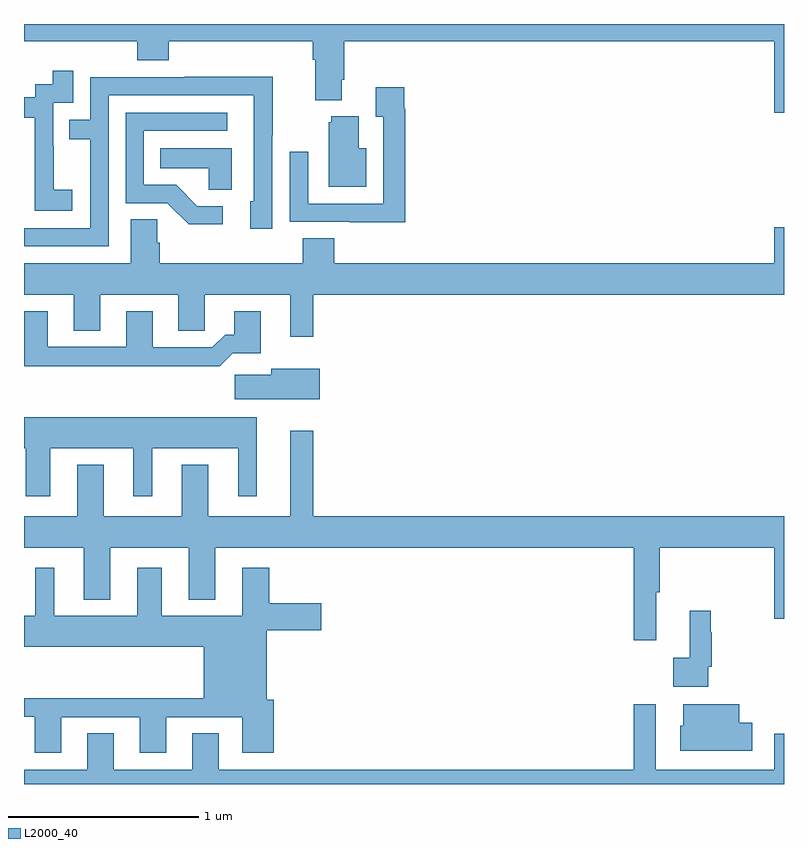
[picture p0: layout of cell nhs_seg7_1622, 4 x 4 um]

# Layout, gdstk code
import gdstk
lib = gdstk.Library(unit=1e-6, precision=1e-09)
def P(c, l, *ps):  # polygons
    for p in ps: c.add(gdstk.Polygon(p, *l))
L2000_40 = (2000, 40)

nhs_seg7_1622 = lib.new_cell('nhs_seg7_1622')
P(nhs_seg7_1622, L2000_40, [(225,1042),(221,1042),(221,1041.908),(221.597,1041.908),(221.597,1041.809),(221.762,1041.809),(221.762,1041.908),(222.521,1041.908),(222.521,1041.812),(222.533,1041.812),(222.533,1041.599),(222.673,1041.599),(222.673,1041.706),(222.686,1041.706),(222.686,1041.908),(224.948,1041.908),(224.948,1041.534),(225,1041.534)],
  [(221.254,1041.127),(221.156,1041.127),(221.156,1041.356),(221.154,1041.356),(221.154,1041.585),(221.259,1041.585),(221.259,1041.754),(221.151,1041.754),(221.151,1041.684),(221.058,1041.684),(221.058,1041.615),(221,1041.615),(221,1041.507),(221.057,1041.507),(221.057,1041.223),(221.056,1041.223),(221.056,1041.017),(221.254,1041.017)],
  [(221.445,1041.624),(222.21,1041.624),(222.21,1041.066),(222.191,1041.066),(222.191,1040.922),(222.306,1040.922),(222.306,1041.415),(222.309,1041.415),(222.309,1041.722),(221.845,1041.722),(221.845,1041.72),(221.349,1041.72),(221.349,1041.495),(221.239,1041.495),(221.239,1041.394),(221.349,1041.394),(221.349,1040.925),(221,1040.925),(221,1040.829),(221.445,1040.829)],
  [(223.007,1041.554),(223,1041.554),(223,1041.667),(222.851,1041.667),(222.851,1041.511),(222.891,1041.511),(222.891,1041.054),(222.495,1041.054),(222.495,1041.328),(222.399,1041.328),(222.399,1040.958),(222.715,1040.958),(222.715,1040.957),(223.007,1040.957)],
  [(222.046,1041.042),(221.911,1041.042),(221.8,1041.153),(221.631,1041.153),(221.631,1041.438),(222.07,1041.438),(222.07,1041.534),(221.535,1041.534),(221.535,1041.057),(221.754,1041.057),(221.867,1040.945),(222.046,1040.945)],
  [(222.802,1041.346),(222.763,1041.346),(222.763,1041.514),(222.617,1041.514),(222.617,1041.483),(222.605,1041.483),(222.605,1041.143),(222.802,1041.143)],
  [(222.094,1041.346),(221.716,1041.346),(221.716,1041.242),(221.973,1041.242),(221.973,1041.127),(222.094,1041.127)],
  [(222.523,1040.576),(225,1040.576),(225,1040.929),(224.948,1040.929),(224.948,1040.74),(222.632,1040.74),(222.632,1040.873),(222.467,1040.873),(222.467,1040.74),(221.714,1040.74),(221.714,1040.849),(221.7,1040.849),(221.7,1040.972),(221.561,1040.972),(221.561,1040.74),(221,1040.74),(221,1040.576),(221.261,1040.576),(221.261,1040.386),(221.401,1040.386),(221.401,1040.576),(221.813,1040.576),(221.813,1040.386),(221.952,1040.386),(221.952,1040.576),(222.401,1040.576),(222.401,1040.355),(222.523,1040.355)],
  [(222.098,1040.267),(222.247,1040.267),(222.247,1040.488),(222.107,1040.488),(222.107,1040.365),(222.058,1040.365),(221.991,1040.298),(221.677,1040.298),(221.677,1040.488),(221.537,1040.488),(221.537,1040.301),(221.125,1040.301),(221.125,1040.488),(221,1040.488),(221,1040.2),(221.773,1040.2),(221.773,1040.198),(222.029,1040.198)],
  [(222.556,1040.185),(222.302,1040.185),(222.302,1040.153),(222.108,1040.153),(222.108,1040.024),(222.556,1040.024)],
  [(221.137,1039.766),(221.576,1039.766),(221.576,1039.515),(221.674,1039.515),(221.674,1039.766),(222.128,1039.766),(222.128,1039.515),(222.226,1039.515),(222.226,1039.93),(221,1039.93),(221,1039.766),(221.009,1039.766),(221.009,1039.515),(221.137,1039.515)],
  [(221.419,1039.681),(221.279,1039.681),(221.279,1039.408),(221,1039.408),(221,1039.244),(221.315,1039.244),(221.315,1038.971),(221.455,1038.971),(221.455,1039.244),(221.867,1039.244),(221.867,1038.971),(222.007,1038.971),(222.007,1039.244),(224.209,1039.244),(224.209,1038.756),(224.327,1038.756),(224.327,1039.008),(224.345,1039.008),(224.345,1039.244),(224.948,1039.244),(224.948,1038.87),(225,1038.87),(225,1039.408),(222.523,1039.408),(222.523,1039.858),(222.401,1039.858),(222.401,1039.408),(221.971,1039.408),(221.971,1039.681),(221.831,1039.681),(221.831,1039.408),(221.419,1039.408)],
  [(221.197,1038.351),(221.609,1038.351),(221.609,1038.165),(221.749,1038.165),(221.749,1038.351),(222.149,1038.351),(222.149,1038.165),(222.314,1038.165),(222.314,1038.444),(222.277,1038.444),(222.277,1038.809),(222.565,1038.809),(222.565,1038.951),(222.29,1038.951),(222.29,1039.138),(222.149,1039.138),(222.149,1038.886),(221.725,1038.886),(221.725,1039.138),(221.597,1039.138),(221.597,1038.886),(221.158,1038.886),(221.158,1039.138),(221.06,1039.138),(221.06,1038.886),(221,1038.886),(221,1038.722),(221.945,1038.722),(221.945,1038.452),(221,1038.452),(221,1038.354),(221.057,1038.354),(221.057,1038.165),(221.197,1038.165)],
  [(224.601,1038.616),(224.621,1038.616),(224.621,1038.8),(224.614,1038.8),(224.614,1038.913),(224.504,1038.913),(224.504,1038.665),(224.418,1038.665),(224.418,1038.512),(224.601,1038.512)],
  [(224.833,1038.323),(224.764,1038.323),(224.764,1038.421),(224.471,1038.421),(224.471,1038.306),(224.453,1038.306),(224.453,1038.176),(224.833,1038.176)],
  [(225,1038.265),(224.948,1038.265),(224.948,1038.076),(224.325,1038.076),(224.325,1038.421),(224.209,1038.421),(224.209,1038.076),(222.025,1038.076),(222.025,1038.266),(221.885,1038.266),(221.885,1038.076),(221.473,1038.076),(221.473,1038.266),(221.333,1038.266),(221.333,1038.076),(221,1038.076),(221,1038),(225,1038)])

lib.write_gds('nhs_seg7_1622.gds')
